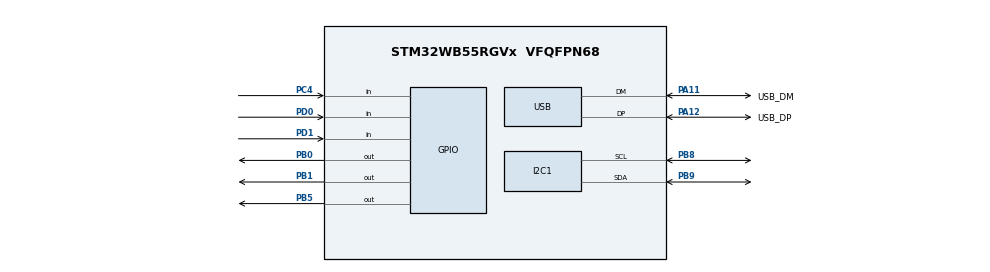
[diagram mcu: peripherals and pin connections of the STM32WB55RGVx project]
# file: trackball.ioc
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I2C1.Timing=0x10B17DB5
Mcu.Family=STM32WB
Mcu.Name=STM32WB55RGVx
Mcu.Package=VFQFPN68
NUCLEO-WB55RG.BUTTON=1
NUCLEO-WB55RG.BUTTON2=1
NUCLEO-WB55RG.BUTTON3=1
NUCLEO-WB55RG.LD1=true
NUCLEO-WB55RG.LD2=true
NUCLEO-WB55RG.LD3=true
NUCLEO-WB55RG.VCP=true
NVIC.EXTI0_IRQn=true\:0\:0\:false\:false\:true\:false\:true\:true
NVIC.EXTI1_IRQn=true\:0\:0\:false\:false\:true\:false\:true\:true
NVIC.EXTI4_IRQn=true\:0\:0\:false\:false\:true\:false\:true\:true
NVIC.PriorityGroup=NVIC_PRIORITYGROUP_4
NVIC.TIM2_IRQn=true\:0\:0\:false\:false\:true\:true\:true\:true
NVIC.USB_LP_IRQn=true\:0\:0\:false\:false\:true\:false\:true\:true
OSC_IN.GPIO_Label=RCC_OSC_IN
OSC_IN.Mode=HSE-External-Oscillator
OSC_IN.Signal=RCC_OSC_IN
OSC_OUT.GPIO_Label=RCC_OSC_OUT
OSC_OUT.Mode=HSE-External-Oscillator
OSC_OUT.Signal=RCC_OSC_OUT
PA11.GPIO_Label=USB_DM
PA11.Mode=Device
PA11.Signal=USB_DM
PA12.GPIO_Label=USB_DP
PA12.Mode=Device
PA12.Signal=USB_DP
PA13.GPIO_Label=JTMS
PA13.Mode=Serial_Wire
PA13.Signal=SYS_JTMS-SWDIO
PA14.GPIO_Label=JTCK
PA14.Mode=Serial_Wire
PA14.Signal=SYS_JTCK-SWCLK
PB0.Signal=GPIO_Output
PB1.Signal=GPIO_Output
PB3.GPIO_Label=JTDO
PB3.Signal=SYS_JTDO-SWO
PB5.Signal=GPIO_Output
PB6.Signal=USART1_TX
PB7.Signal=USART1_RX
PB8.GPIO_Pu=GPIO_NOPULL
PB8.Mode=I2C
PB8.Signal=I2C1_SCL
PB9.GPIO_Pu=GPIO_NOPULL
PB9.Mode=I2C
PB9.Signal=I2C1_SDA
PC13.GPIO_Label=SYS_WKUP2
PC13.Signal=SYS_WKUP2
PC14-OSC32_IN.GPIO_Label=RCC_OSC32_IN
PC14-OSC32_IN.Mode=LSE-External-Oscillator
PC14-OSC32_IN.Signal=RCC_OSC32_IN
PC15-OSC32_OUT.GPIO_Label=RCC_OSC32_OUT
PC15-OSC32_OUT.Mode=LSE-External-Oscillator
PC15-OSC32_OUT.Signal=RCC_OSC32_OUT
PC4.Signal=GPIO_Input
PD0.Signal=GPIO_Input
PD1.Signal=GPIO_Input
ProjectManager.HeapSize=0x200
ProjectManager.StackSize=0x400
ProjectManager.TargetToolchain=STM32CubeIDE
RCC.ADCFreq_Value=48000000
RCC.AHB2CLKDivider=RCC_SYSCLK_DIV2
RCC.AHBFreq_Value=64000000
RCC.APB1Freq_Value=64000000
RCC.APB1TimFreq_Value=64000000
RCC.APB2Freq_Value=64000000
RCC.APB2TimFreq_Value=64000000
RCC.APB3Freq_Value=16000000
RCC.Cortex2_Div=SYSTICK_CLKSOURCE_HCLK_DIV8
RCC.CortexFreq_Value=64000000
RCC.HCLKFreq_Value=64000000
RCC.HSE_VALUE=32000000
RCC.HSI48_VALUE=48000000
RCC.HSI_VALUE=16000000
RCC.PLLN=32
RCC.PLLSAI1N=24
RCC.SMPSCLockSelection=RCC_SMPSCLKSOURCE_HSI
RCC.SMPSCLockSelectionVirtual=RCC_SMPSCLKSOURCE_HSI
RCC.SMPSCLockSelectionVirtualVirtual=RCC_SMPSCLKSOURCE_HSI
RCC.SMPSDivider=1
RCC.SYSCLKFreq_VALUE=64000000
RCC.SYSCLKSource=RCC_SYSCLKSOURCE_PLLCLK
RCC.USBFreq_Value=48000000
RCC.VCOOutputFreq_Value=128000000
TIM2.Period=32000-1
TIM2.Prescaler=1
USB_DEVICE.CLASS_NAME_FS=HID
USB_DEVICE.HID_FS_BINTERVAL=0x1
USB_DEVICE.PRODUCT_STRING_HID_FS=STM32WB Mouse
USB_DEVICE.VirtualMode=Hid
USB_DEVICE.VirtualModeFS=Hid_FS
VP_MEMORYMAP_VS_MEMORYMAP.Mode=CurAppReg
VP_NUCLEO-WB55RG_VS_BSP_COMMON.Mode=COMMON
VP_TIM2_VS_ClockSourceINT.Mode=Internal
VP_USB_DEVICE_VS_USB_DEVICE_HID_FS.Mode=HID_FS
board=NUCLEO-WB55RG

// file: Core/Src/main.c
/* USER CODE BEGIN Header */
/**
  ******************************************************************************
  * @file           : main.c
  * @brief          : Main program body
  ******************************************************************************
  * @attention
  *
  * Copyright (c) 2024 STMicroelectronics.
  * All rights reserved.
  *
  * This software is licensed under terms that can be found in the LICENSE file
  * in the root directory of this software component.
  * If no LICENSE file comes with this software, it is provided AS-IS.
  *
  ******************************************************************************
  */
/* USER CODE END Header */
#include "main.h"
#include "usb_device.h"

/* USER CODE BEGIN Includes */
#include "usbd_hid.h"
#include "ball.h"
#include "math.h"
#include "filter.h"
/* USER CODE END Includes */

/* USER CODE BEGIN PTD */

// struct containing the mouse data
typedef struct{
	uint8_t click;
	int8_t mouse_x;
	int8_t mouse_y;
	int8_t wheel;
}mouseHID;

/* USER CODE END PTD */

COM_InitTypeDef BspCOMInit;
I2C_HandleTypeDef hi2c1;

TIM_HandleTypeDef htim2;

/* USER CODE BEGIN PV */

// create the mouse instance
extern USBD_HandleTypeDef hUsbDeviceFS;

// create struct for the ball
trackball ball;

// create struct for the filter
lpfilter filterx, filtery;
float alpha;

/* USER CODE END PV */

void SystemClock_Config(void);
void PeriphCommonClock_Config(void);
static void MX_GPIO_Init(void);
static void MX_I2C1_Init(void);
static void MX_TIM2_Init(void);

/* USER CODE BEGIN 0 */

// presecaler = 1, counter up to 64000 - 1
void HAL_TIM_PeriodElapsedCallback(TIM_HandleTypeDef *htim2){

	// create a struct for the mouse data
	mouseHID mouse_data = {0,0,0,0};
	int16_t x = 0;
	int16_t y = 0;

	trackball_read_states(&ball);

	// positions are switched around due to orientation of the pen
	x = ball.down - ball.up;
	y = ball.right - ball.left;

	if (ball.sw_pressed){
	  mouse_data.click = ball.sw_pressed;
	}
	else{
	  mouse_data.click = 0;
	}

//	mouse_data.mouse_x = copysign(50*x*x, x);
//	mouse_data.mouse_y = copysign(50*y*y, y);

	mouse_data.mouse_x = filter_update(&filterx, 20 * x);;
	mouse_data.mouse_y = filter_update(&filtery, 20 * y);

	USBD_HID_SendReport(&hUsbDeviceFS, (uint8_t *)&mouse_data, sizeof(mouse_data));

}

/* USER CODE END 0 */

int main(void)
{

  /* USER CODE BEGIN 1 */
	ball.i2cHandle = &hi2c1;
	ball.left = 0;
	ball.right = 0;
	ball.up = 0;
	ball.down = 0;

	ball.sw_pressed = 0;
	ball.sw_changed = 0;

	//	initialise the filter

	alpha = 0.05f;
	filter_init(&filterx, alpha);
	filter_init(&filtery, alpha);
  /* USER CODE END 1 */

  /* MCU Configuration--------------------------------------------------------*/

  /* Reset of all peripherals, Initializes the Flash interface and the Systick. */
  HAL_Init();

  /* Configure the system clock */
  SystemClock_Config();

  /* Configure the peripherals common clocks */
  PeriphCommonClock_Config();

  /* Initialize all configured peripherals */
  MX_GPIO_Init();
  MX_I2C1_Init();
  MX_USB_Device_Init();
  MX_TIM2_Init();
  /* USER CODE BEGIN 2 */

  // starting sequence
 if (HAL_I2C_IsDeviceReady(&hi2c1, I2C_ADDRESS, 2, HAL_MAX_DELAY) == HAL_OK){
	 setRed(&ball, 255);
	 HAL_Delay(1000);
	 setRed(&ball, 0);

	 setGreen(&ball, 255);
	 HAL_Delay(1000);
	 setGreen(&ball, 0);

	 setBlue(&ball, 255);
	 HAL_Delay(1000);
	 setBlue(&ball, 0);

	 setWhite(&ball, 255);
	 HAL_Delay(1000);
	 setWhite(&ball, 0);

	 setRGBW(&ball, 255,255,255,255);
	 HAL_Delay(1000);
	 setRGBW(&ball, 0, 0, 0, 0);

	 // start the timer
	 HAL_TIM_Base_Start_IT(&htim2);

  }
// else {
//	 while(1){
//		 HAL_Delay(1000);
//	 }
// }

  /* USER CODE END 2 */

  /* Initialize leds */
  BSP_LED_Init(LED_BLUE);
  BSP_LED_Init(LED_GREEN);
  BSP_LED_Init(LED_RED);

  /* Initialize USER push-button, will be used to trigger an interrupt each time it's pressed.*/
  BSP_PB_Init(BUTTON_SW1, BUTTON_MODE_EXTI);
  BSP_PB_Init(BUTTON_SW2, BUTTON_MODE_EXTI);
  BSP_PB_Init(BUTTON_SW3, BUTTON_MODE_EXTI);

  /* Initialize COM1 port (115200, 8 bits (7-bit data + 1 stop bit), no parity */
  BspCOMInit.BaudRate   = 115200;
  BspCOMInit.WordLength = COM_WORDLENGTH_8B;
  BspCOMInit.StopBits   = COM_STOPBITS_1;
  BspCOMInit.Parity     = COM_PARITY_NONE;
  BspCOMInit.HwFlowCtl  = COM_HWCONTROL_NONE;
  if (BSP_COM_Init(COM1, &BspCOMInit) != BSP_ERROR_NONE)
  {
    Error_Handler();
  }

  /* Infinite loop */
  while (1)
  {

  }
}

void SystemClock_Config(void)
{
  RCC_OscInitTypeDef RCC_OscInitStruct = {0};
  RCC_ClkInitTypeDef RCC_ClkInitStruct = {0};

  /** Configure LSE Drive Capability
  */
  HAL_PWR_EnableBkUpAccess();
  __HAL_RCC_LSEDRIVE_CONFIG(RCC_LSEDRIVE_MEDIUMHIGH);

  /** Configure the main internal regulator output voltage
  */
  __HAL_PWR_VOLTAGESCALING_CONFIG(PWR_REGULATOR_VOLTAGE_SCALE1);

  /** Initializes the RCC Oscillators according to the specified parameters
  * in the RCC_OscInitTypeDef structure.
  */
  RCC_OscInitStruct.OscillatorType = RCC_OSCILLATORTYPE_HSI|RCC_OSCILLATORTYPE_HSE
                              |RCC_OSCILLATORTYPE_LSE|RCC_OSCILLATORTYPE_MSI;
  RCC_OscInitStruct.HSEState = RCC_HSE_ON;
  RCC_OscInitStruct.LSEState = RCC_LSE_ON;
  RCC_OscInitStruct.HSIState = RCC_HSI_ON;
  RCC_OscInitStruct.MSIState = RCC_MSI_ON;
  RCC_OscInitStruct.HSICalibrationValue = RCC_HSICALIBRATION_DEFAULT;
  RCC_OscInitStruct.MSICalibrationValue = RCC_MSICALIBRATION_DEFAULT;
  RCC_OscInitStruct.MSIClockRange = RCC_MSIRANGE_6;
  RCC_OscInitStruct.PLL.PLLState = RCC_PLL_ON;
  RCC_OscInitStruct.PLL.PLLSource = RCC_PLLSOURCE_MSI;
  RCC_OscInitStruct.PLL.PLLM = RCC_PLLM_DIV1;
  RCC_OscInitStruct.PLL.PLLN = 32;
  RCC_OscInitStruct.PLL.PLLP = RCC_PLLP_DIV2;
  RCC_OscInitStruct.PLL.PLLR = RCC_PLLR_DIV2;
  RCC_OscInitStruct.PLL.PLLQ = RCC_PLLQ_DIV2;
  if (HAL_RCC_OscConfig(&RCC_OscInitStruct) != HAL_OK)
  {
    Error_Handler();
  }

  /** Configure the SYSCLKSource, HCLK, PCLK1 and PCLK2 clocks dividers
  */
  RCC_ClkInitStruct.ClockType = RCC_CLOCKTYPE_HCLK4|RCC_CLOCKTYPE_HCLK2
                              |RCC_CLOCKTYPE_HCLK|RCC_CLOCKTYPE_SYSCLK
                              |RCC_CLOCKTYPE_PCLK1|RCC_CLOCKTYPE_PCLK2;
  RCC_ClkInitStruct.SYSCLKSource = RCC_SYSCLKSOURCE_PLLCLK;
  RCC_ClkInitStruct.AHBCLKDivider = RCC_SYSCLK_DIV1;
  RCC_ClkInitStruct.APB1CLKDivider = RCC_HCLK_DIV1;
  RCC_ClkInitStruct.APB2CLKDivider = RCC_HCLK_DIV1;
  RCC_ClkInitStruct.AHBCLK2Divider = RCC_SYSCLK_DIV2;
  RCC_ClkInitStruct.AHBCLK4Divider = RCC_SYSCLK_DIV1;

  if (HAL_RCC_ClockConfig(&RCC_ClkInitStruct, FLASH_LATENCY_3) != HAL_OK)
  {
    Error_Handler();
  }

  /** Enable MSI Auto calibration
  */
  HAL_RCCEx_EnableMSIPLLMode();
}

void PeriphCommonClock_Config(void)
{
  RCC_PeriphCLKInitTypeDef PeriphClkInitStruct = {0};

  /** Initializes the peripherals clock
  */
  PeriphClkInitStruct.PeriphClockSelection = RCC_PERIPHCLK_SMPS;
  PeriphClkInitStruct.SmpsClockSelection = RCC_SMPSCLKSOURCE_HSI;
  PeriphClkInitStruct.SmpsDivSelection = RCC_SMPSCLKDIV_RANGE0;

  if (HAL_RCCEx_PeriphCLKConfig(&PeriphClkInitStruct) != HAL_OK)
  {
    Error_Handler();
  }
}

static void MX_I2C1_Init(void)
{

  hi2c1.Instance = I2C1;
  hi2c1.Init.Timing = 0x10B17DB5;
  hi2c1.Init.OwnAddress1 = 0;
  hi2c1.Init.AddressingMode = I2C_ADDRESSINGMODE_7BIT;
  hi2c1.Init.DualAddressMode = I2C_DUALADDRESS_DISABLE;
  hi2c1.Init.OwnAddress2 = 0;
  hi2c1.Init.OwnAddress2Masks = I2C_OA2_NOMASK;
  hi2c1.Init.GeneralCallMode = I2C_GENERALCALL_DISABLE;
  hi2c1.Init.NoStretchMode = I2C_NOSTRETCH_DISABLE;
  if (HAL_I2C_Init(&hi2c1) != HAL_OK)
  {
    Error_Handler();
  }

  /** Configure Analogue filter
  */
  if (HAL_I2CEx_ConfigAnalogFilter(&hi2c1, I2C_ANALOGFILTER_ENABLE) != HAL_OK)
  {
    Error_Handler();
  }

  /** Configure Digital filter
  */
  if (HAL_I2CEx_ConfigDigitalFilter(&hi2c1, 0) != HAL_OK)
  {
    Error_Handler();
  }

}

static void MX_TIM2_Init(void)
{

  TIM_ClockConfigTypeDef sClockSourceConfig = {0};
  TIM_MasterConfigTypeDef sMasterConfig = {0};

  htim2.Instance = TIM2;
  htim2.Init.Prescaler = 1;
  htim2.Init.CounterMode = TIM_COUNTERMODE_UP;
  htim2.Init.Period = 32000-1;
  htim2.Init.ClockDivision = TIM_CLOCKDIVISION_DIV1;
  htim2.Init.AutoReloadPreload = TIM_AUTORELOAD_PRELOAD_DISABLE;
  if (HAL_TIM_Base_Init(&htim2) != HAL_OK)
  {
    Error_Handler();
  }
  sClockSourceConfig.ClockSource = TIM_CLOCKSOURCE_INTERNAL;
  if (HAL_TIM_ConfigClockSource(&htim2, &sClockSourceConfig) != HAL_OK)
  {
    Error_Handler();
  }
  sMasterConfig.MasterOutputTrigger = TIM_TRGO_RESET;
  sMasterConfig.MasterSlaveMode = TIM_MASTERSLAVEMODE_DISABLE;
  if (HAL_TIMEx_MasterConfigSynchronization(&htim2, &sMasterConfig) != HAL_OK)
  {
    Error_Handler();
  }

}

static void MX_GPIO_Init(void)
{

  /* GPIO Ports Clock Enable */
  __HAL_RCC_GPIOC_CLK_ENABLE();
  __HAL_RCC_GPIOB_CLK_ENABLE();
  __HAL_RCC_GPIOA_CLK_ENABLE();

}

void Error_Handler(void)
{
  __disable_irq();
  while (1)
  {
  }
}
